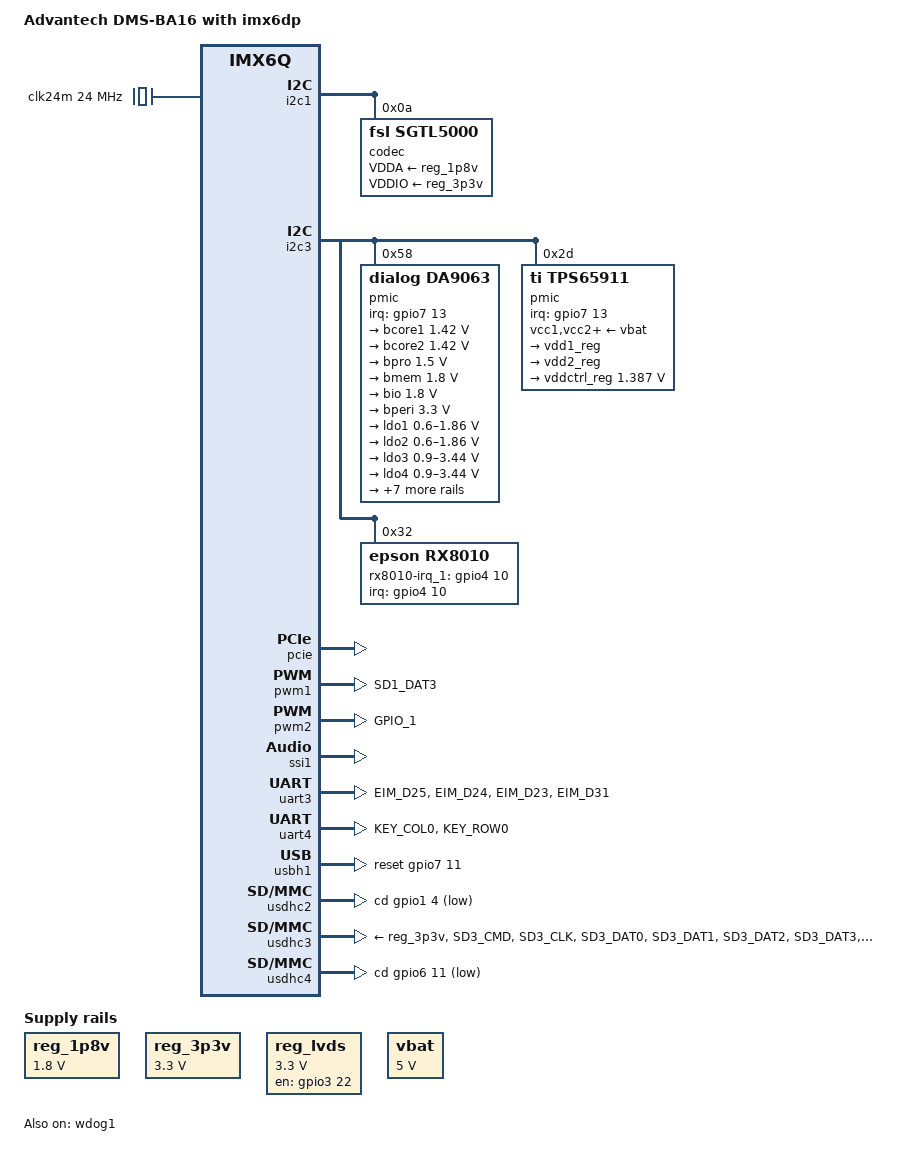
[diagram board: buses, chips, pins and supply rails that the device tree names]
/*
 * Copyright (C) 2015 Freescale Semiconductor, Inc.
 * Copyright (C) 2022 Advantech
 *
 * This program is free software; you can redistribute it and/or modify
 * it under the terms of the GNU General Public License version 2 as
 * published by the Free Software Foundation.
 */

#include "imx6qp-sabresd.dts"

/ {

	model = "Advantech DMS-BA16 with imx6dp";
	compatible = "fsl.imx6q-dms-ba16", "fsl,imx6q";
	
	aliases {
		rtc0 = &snvs_rtc;
		rtc1 = &rx8010;
	};

	clocks {
		clk24m: clk24m {
			compatible = "fixed-clock";
			#clock-cells = <0>;
			clock-frequency = <24000000>;
		};
	};

	regulators {
		reg_usb_otg_vbus: regulator@0 {
			/delete-property/ vin-supply;
			pinctrl-names = "default";
			pinctrl-0 = <&pinctrl_usbotg>;
			gpio = <&gpio4 15 GPIO_ACTIVE_HIGH>;
		};			
	
		reg_usb_h1_vbus: regulator@1 {
			/delete-property/ gpio;
			/delete-property/ enable-active-high;
			/delete-property/ vin-supply;
		};

		/delete-node/ regulator@2;
		/delete-node/ regulator@3;
		/delete-node/ regulator@4;
		/delete-node/ regulator@5;
		/delete-node/ mipi_dsi_pwr_on;

		reg_1p8v: 1p8v {
			compatible = "regulator-fixed";
			regulator-name = "1P8V";
			regulator-min-microvolt = <1800000>;
			regulator-max-microvolt = <1800000>;
			regulator-always-on;
		};

		reg_3p3v: 3p3v {
			compatible = "regulator-fixed";
			regulator-name = "3P3V";
			regulator-min-microvolt = <3300000>;
			regulator-max-microvolt = <3300000>;
			regulator-always-on;
		};

		reg_lvds: regulator-lvds {
			compatible = "regulator-fixed";
			regulator-name = "lvds_ppen";
			regulator-min-microvolt = <3300000>;
			regulator-max-microvolt = <3300000>;
			regulator-boot-on;
			gpio = <&gpio3 22 GPIO_ACTIVE_HIGH>;
			enable-active-high;
		};

		vbat: fixedregulator@0 {
			compatible = "regulator-fixed";
			regulator-name = "vbat";
			regulator-min-microvolt = <5000000>;
			regulator-max-microvolt = <5000000>;
			regulator-boot-on;
		};
	};

	sound {
		compatible = "fsl,imx6q-ba16-sgtl5000",
			"fsl,imx-audio-sgtl5000";
		model = "imx6q-ba16-sgtl5000";


	};

	/delete-node/ lcd@0;
	/delete-node/ hannstar_cabc;
	/delete-node/ gpio-keys;

};

/delete-node/ &battery;
/delete-node/ &mipi_csi;
/delete-node/ &mipi_dsi;

&mxcfb3 {
	status = "disabled";
};

&mxcfb4 {
	status = "disabled";
};

&hdmi_video {
	/delete-property/ HDMI-supply;
};

&i2c1 {
	/delete-node/ wm8962@1a;
	/delete-node/ mma8451@1c;
	/delete-node/ ov564x@3c;

	codec: sgtl5000@0a {
		compatible = "fsl,sgtl5000";
		reg = <0x0a>;
		clocks = <&clks 201>;
		VDDA-supply = <&reg_1p8v>;
		VDDIO-supply = <&reg_3p3v>;
	};

};

&i2c2 {

	/delete-node/ egalax_ts@04;
	/delete-node/ max11801@48;
	/delete-node/ ov564x_mipi@3c;
	/delete-node/ pfuze100@08;

};

&i2c3 {

	/delete-node/ egalax_ts@04;
	/delete-node/ isl29023@44;
	/delete-node/ mag3110@0e;

	pmic@58 {
		compatible = "dialog,da9063";
		reg = <0x58>;
		interrupt-parent = <&gpio7>;
		interrupts = <13 0x8>; /* active-low GPIO7_13 */

		regulators {
			bcore1 {
				regulator-min-microvolt = <1420000>;
				regulator-max-microvolt = <1420000>;
				regulator-always-on;
				regulator-boot-on;
			};

			bcore2 {
				regulator-min-microvolt = <1420000>;
				regulator-max-microvolt = <1420000>;
				regulator-always-on;
				regulator-boot-on;
			};

			bpro {
				regulator-min-microvolt = <1500000>;
				regulator-max-microvolt = <1500000>;
				regulator-always-on;
				regulator-boot-on;
			};

			bmem {
				regulator-min-microvolt = <1800000>;
				regulator-max-microvolt = <1800000>;
				regulator-always-on;
				regulator-boot-on;
			};

			bio: bio {
				regulator-min-microvolt = <1800000>;
				regulator-max-microvolt = <1800000>;
				regulator-always-on;
				regulator-boot-on;
			};

			bperi: bperi {
				regulator-min-microvolt = <3300000>;
				regulator-max-microvolt = <3300000>;
				regulator-always-on;
				regulator-boot-on;
			};

			ldo1 {
				regulator-min-microvolt = <600000>;
				regulator-max-microvolt = <1860000>;
			};

			ldo2 {
				regulator-min-microvolt = <600000>;
				regulator-max-microvolt = <1860000>;
			};

			ldo3 {
				regulator-min-microvolt = <900000>;
				regulator-max-microvolt = <3440000>;
			};

			ldo4 {
				regulator-min-microvolt = <900000>;
				regulator-max-microvolt = <3440000>;
			};

			ldo5 {
				regulator-min-microvolt = <900000>;
				regulator-max-microvolt = <3600000>;
				regulator-always-on;
				regulator-boot-on;
			};

			ldo6 {
				regulator-min-microvolt = <900000>;
				regulator-max-microvolt = <3600000>;
				regulator-always-on;
				regulator-boot-on;
			};

			ldo7 {
				regulator-min-microvolt = <900000>;
				regulator-max-microvolt = <3600000>;
				regulator-always-on;
				regulator-boot-on;
			};

			ldo8 {
				regulator-min-microvolt = <900000>;
				regulator-max-microvolt = <3600000>;
				regulator-always-on;
				regulator-boot-on;
			};

			ldo9 {
				regulator-min-microvolt = <950000>;
				regulator-max-microvolt = <3600000>;
				regulator-always-on;
				regulator-boot-on;
			};

			ldo10 {
				regulator-min-microvolt = <900000>;
				regulator-max-microvolt = <3600000>;
				regulator-always-on;
				regulator-boot-on;
			};

			ldo11 {
				regulator-min-microvolt = <900000>;
				regulator-max-microvolt = <3600000>;
				regulator-always-on;
				regulator-boot-on;
			};
		};
	};

	pmic: tps65911@2d {
                compatible = "ti,tps65911";
                reg = <0x2d>;
                interrupt-parent = <&gpio7>;
                interrupts = <13 0x2>; /* active-low GPIO7_13 */
                #interrupt-cells = <2>;
                interrupt-controller;

                ti,system-power-controller;

                #gpio-cells = <2>;
                gpio-controller;

                vcc1-supply = <&vbat>;
                vcc2-supply = <&vbat>;
                vcc3-supply = <&vbat>;
                vcc4-supply = <&vbat>;
                vcc5-supply = <&vbat>;
                vcc6-supply = <&vbat>;
                vcc7-supply = <&vbat>;
                vccio-supply = <&vbat>;

		regulators {
                        vrtc_reg: regulator@0 {
                                regulator-always-on;
                        };

                        vio_reg: regulator@1 {
                                regulator-always-on;
                        };

                        vdd1_reg: regulator@2 {
                                /* VDD_MPU voltage limits 0.95V - 1.26V with +/-4% tolerance */
                                regulator-name = "vdd_mpu";
                                /* regulator-min-microvolt = <912500>; */
                                /* regulator-max-microvolt = <1312500>; */
                                regulator-boot-on;
                                regulator-always-on;
                        };

                        vdd2_reg: regulator@3 {
                                /* VDD_CORE voltage limits 0.95V - 1.1V with +/-4% tolerance */
                                regulator-name = "vdd_core";
                                /* regulator-min-microvolt = <912500>; */
                                /* regulator-max-microvolt = <1150000>; */
                                regulator-boot-on;
                                regulator-always-on;
                        };

                        vdd3_reg: regulator@4 {
                                regulator-always-on;
                        };

                        vdig1_reg: regulator@5 {
                                regulator-always-on;
                        };

			vdig2_reg: regulator@6 {
                                regulator-always-on;
                        };

                        vpll_reg: regulator@7 {
                                regulator-always-on;
                        };

                        vdac_reg: regulator@8 {
                                regulator-always-on;
                        };

                        vaux1_reg: regulator@9 {
                                regulator-always-on;
                        };

                        vaux2_reg: regulator@10 {
                                regulator-always-on;
                        };

                        vaux33_reg: regulator@11 {
                                regulator-always-on;
                        };

                        vmmc_reg: regulator@12 {
                                /* regulator-min-microvolt = <1800000>; */
                                /* regulator-max-microvolt = <3300000>; */
                                regulator-always-on;
                        };

			vddctrl_reg: regulator@13 {
                                regulator-compatible = "vddctrl";
                                reg = <2>;
                                regulator-min-microvolt = <1387500>;
                                regulator-max-microvolt = <1387500>;
                                regulator-always-on;
                                regulator-boot-on;
                                ti,regulator-ext-sleep-control = <0>;
                        };
                };
        };

	rx8010:rtc@32 {
		compatible = "epson,rx8010";
		reg = <0x32>;
		interrupt-parent = <&gpio4>;
		interrupts = <10>;
		rx8010-irq_1 = <&gpio4 10 0>;
	};

};

&iomuxc {

	hog {
		pinctrl_hog: hoggrp-1 {
			fsl,pins = <
				MX6QDL_PAD_GPIO_4__GPIO1_IO04    0x80000000	/* uSDHC2 CD */
				MX6QDL_PAD_NANDF_CS0__GPIO6_IO11 0x80000000	/* uSDHC4 CD */
				MX6QDL_PAD_NANDF_CS1__GPIO6_IO14 0x80000000	/* uSDHC4 SDIO PWR */
				MX6QDL_PAD_NANDF_CS2__GPIO6_IO15 0x80000000	/* uSDHC4 SDIO WP */
				MX6QDL_PAD_NANDF_CS3__GPIO6_IO16 0x80000000	/* uSDHC4 SDIO LED */
				MX6QDL_PAD_EIM_EB2__GPIO2_IO30   0x80000000	/* SPI1 CS */
				MX6QDL_PAD_ENET_TX_EN__GPIO1_IO28 0x80000000	/* FEC Reset */
				MX6QDL_PAD_NANDF_D0__GPIO2_IO00 0x80000000	/* GPIO0 */
				MX6QDL_PAD_NANDF_D1__GPIO2_IO01 0x80000000	/* GPIO1 */
				MX6QDL_PAD_NANDF_D2__GPIO2_IO02 0x80000000	/* GPIO2 */
				MX6QDL_PAD_NANDF_D3__GPIO2_IO03 0x80000000	/* GPIO3 */
				MX6QDL_PAD_NANDF_D4__GPIO2_IO04 0x80000000	/* GPIO4 */
				MX6QDL_PAD_NANDF_D5__GPIO2_IO05 0x80000000	/* GPIO5 */
				MX6QDL_PAD_NANDF_D6__GPIO2_IO06 0x80000000	/* GPIO6 */
				MX6QDL_PAD_NANDF_D7__GPIO2_IO07 0x80000000	/* GPIO7 */
				MX6QDL_PAD_NANDF_CLE__GPIO6_IO07 0x80000000	/* CAM_PWDN */
				MX6QDL_PAD_GPIO_2__GPIO1_IO02 0x80000000	/* CAM_RST */
				MX6QDL_PAD_GPIO_9__WDOG1_B 0x80000000		/* Watchdog out */
				MX6QDL_PAD_GPIO_16__GPIO7_IO11   0x80000000	/* HUB_RESET */
				MX6QDL_PAD_GPIO_18__GPIO7_IO13   0x80000000	/* PMIC Interrupt */
				MX6QDL_PAD_GPIO_19__GPIO4_IO05   0x80000000	/* AR8033 Interrupt */
				MX6QDL_PAD_GPIO_0__GPIO1_IO00  0x80000000	/* BLEN_OUT */
				MX6QDL_PAD_EIM_D22__GPIO3_IO22   0x80000000	/* LVDS_PPEN_OUT */
				MX6QDL_PAD_KEY_COL2__GPIO4_IO10  0x80000000	/* RTC_INT */
			>;
		};
	};

	usdh3 {
		pinctrl_usdhc3_reset: usdhc3grp-reset {
			fsl,pins = <
				MX6QDL_PAD_SD3_RST__SD3_RESET   0x170F9
			>;
		};
	};

		audmux {
		pinctrl_audmux: audmuxgrp {
			fsl,pins = <
				MX6QDL_PAD_DISP0_DAT20__AUD4_TXC  0x130b0
				MX6QDL_PAD_DISP0_DAT21__AUD4_TXD  0x130b0
				MX6QDL_PAD_DISP0_DAT22__AUD4_TXFS  0x130b0
				MX6QDL_PAD_DISP0_DAT23__AUD4_RXD  0x130b0
			>;
		};
	};

	ecspi1 {
		pinctrl_ecspi1: ecspi1grp {
			fsl,pins = <
				MX6QDL_PAD_EIM_D17__ECSPI1_MISO 0x100b1
				MX6QDL_PAD_EIM_D18__ECSPI1_MOSI 0x100b1
				MX6QDL_PAD_EIM_D16__ECSPI1_SCLK 0x100b1
			>;
		};
	};

	ecspi5 {
		pinctrl_ecspi5: ecspi5grp {
			fsl,pins = <
				MX6QDL_PAD_SD1_DAT0__ECSPI5_MISO	0x1b0b0
				MX6QDL_PAD_SD1_CMD__ECSPI5_MOSI		0x1b0b0
				MX6QDL_PAD_SD1_CLK__ECSPI5_SCLK		0x1b0b0
				MX6QDL_PAD_SD1_DAT1__GPIO1_IO17		0x1b0b0
			>;
		};
	};

	hdmi_cec {
		pinctrl_hdmi_cec: hdmicecgrp {
			fsl,pins = <
				MX6QDL_PAD_KEY_ROW2__HDMI_TX_CEC_LINE 0x1f8b0
			>;
		};
	};

	usbotg {
		pinctrl_usbotg: usbotggrp {
			fsl,pins = <
				MX6QDL_PAD_ENET_RX_ER__USB_OTG_ID 0x17059
				MX6QDL_PAD_KEY_ROW4__GPIO4_IO15   0x1b0b0
			>;
		};
	};

	usdhc2 {
		pinctrl_usdhc2: usdhc2grp {
			fsl,pins = <
				MX6QDL_PAD_SD2_CMD__SD2_CMD    0x17059
				MX6QDL_PAD_SD2_CLK__SD2_CLK    0x10059
				MX6QDL_PAD_SD2_DAT0__SD2_DATA0 0x17059
				MX6QDL_PAD_SD2_DAT1__SD2_DATA1 0x17059
				MX6QDL_PAD_SD2_DAT2__SD2_DATA2 0x17059
				MX6QDL_PAD_SD2_DAT3__SD2_DATA3 0x17059
			>;
		};
	};

	usdhc3 {
		pinctrl_usdhc3: usdhc3grp {
			fsl,pins = <
				MX6QDL_PAD_SD3_CMD__SD3_CMD    0x17059
				MX6QDL_PAD_SD3_CLK__SD3_CLK    0x10059
				MX6QDL_PAD_SD3_DAT0__SD3_DATA0 0x17059
				MX6QDL_PAD_SD3_DAT1__SD3_DATA1 0x17059
				MX6QDL_PAD_SD3_DAT2__SD3_DATA2 0x17059
				MX6QDL_PAD_SD3_DAT3__SD3_DATA3 0x17059
				MX6QDL_PAD_SD3_DAT4__SD3_DATA4 0x17059
				MX6QDL_PAD_SD3_DAT5__SD3_DATA5 0x17059
				MX6QDL_PAD_SD3_DAT6__SD3_DATA6 0x17059
				MX6QDL_PAD_SD3_DAT7__SD3_DATA7 0x17059
			>;
		};
	};

	usdhc4 {
		pinctrl_usdhc4: usdhc4grp {
			fsl,pins = <
				MX6QDL_PAD_SD4_CMD__SD4_CMD    0x17059
				MX6QDL_PAD_SD4_CLK__SD4_CLK    0x10059
				MX6QDL_PAD_SD4_DAT0__SD4_DATA0 0x17059
				MX6QDL_PAD_SD4_DAT1__SD4_DATA1 0x17059
				MX6QDL_PAD_SD4_DAT2__SD4_DATA2 0x17059
				MX6QDL_PAD_SD4_DAT3__SD4_DATA3 0x17059
				MX6QDL_PAD_SD4_DAT4__SD4_DATA4 0x17059
				MX6QDL_PAD_SD4_DAT5__SD4_DATA5 0x17059
				MX6QDL_PAD_SD4_DAT6__SD4_DATA6 0x17059
				MX6QDL_PAD_SD4_DAT7__SD4_DATA7 0x17059
			>;
		};
	};

	i2c1 {
		pinctrl_i2c1: i2c1grp {
			fsl,pins = <
				MX6QDL_PAD_CSI0_DAT8__I2C1_SDA 0x4001b8b1
				MX6QDL_PAD_CSI0_DAT9__I2C1_SCL 0x4001b8b1
			>;
		};
	};

	i2c2 {
		pinctrl_i2c2: i2c2grp {
			fsl,pins = <
				MX6QDL_PAD_KEY_COL3__I2C2_SCL 0x4001b8b1
				MX6QDL_PAD_KEY_ROW3__I2C2_SDA 0x4001b8b1
			>;
		};
	};

	i2c3 {
		pinctrl_i2c3: i2c3grp {
			fsl,pins = <
				MX6QDL_PAD_GPIO_3__I2C3_SCL 0x4001b8b1
				MX6QDL_PAD_GPIO_6__I2C3_SDA 0x4001b8b1
			>;
		};
	};

	pwm1 {
		pinctrl_pwm1: pwm1grp {
			fsl,pins = <
				MX6QDL_PAD_SD1_DAT3__PWM1_OUT 0x1b0b1
			>;
		};
	};

	pwm2 {
		pinctrl_pwm2: pwm2grp {
			fsl,pins = <
				MX6QDL_PAD_GPIO_1__PWM2_OUT 0x1b0b1
			>;
		};
	};

	enet {
		pinctrl_enet: enetgrp {
			fsl,pins = <
				MX6QDL_PAD_ENET_MDIO__ENET_MDIO       0x100b0
				MX6QDL_PAD_ENET_MDC__ENET_MDC         0x100b0
				MX6QDL_PAD_RGMII_TXC__RGMII_TXC       0x100b0
				MX6QDL_PAD_RGMII_TD0__RGMII_TD0       0x100b0
				MX6QDL_PAD_RGMII_TD1__RGMII_TD1       0x100b0
				MX6QDL_PAD_RGMII_TD2__RGMII_TD2       0x100b0
				MX6QDL_PAD_RGMII_TD3__RGMII_TD3       0x100b0
				MX6QDL_PAD_RGMII_TX_CTL__RGMII_TX_CTL 0x100b0
				MX6QDL_PAD_ENET_REF_CLK__ENET_TX_CLK  0x100b0
				MX6QDL_PAD_RGMII_RXC__RGMII_RXC       0x1b0b0
				MX6QDL_PAD_RGMII_RD0__RGMII_RD0       0x1b0b0
				MX6QDL_PAD_RGMII_RD1__RGMII_RD1       0x1b0b0
				MX6QDL_PAD_RGMII_RD2__RGMII_RD2       0x1b0b0
				MX6QDL_PAD_RGMII_RD3__RGMII_RD3       0x1b0b0
				MX6QDL_PAD_RGMII_RX_CTL__RGMII_RX_CTL 0x1b0b0
			>;
		};
	};

	uart3 {
		pinctrl_uart3: uart3grp {
			fsl,pins = <
				MX6QDL_PAD_EIM_D25__UART3_RX_DATA 0x1b0b1
				MX6QDL_PAD_EIM_D24__UART3_TX_DATA 0x1b0b1
				MX6QDL_PAD_EIM_D23__UART3_CTS_B   0x1b0b1
				MX6QDL_PAD_EIM_D31__UART3_RTS_B   0x1b0b1
			>;
		};
	};

	uart4 {
		pinctrl_uart4: uart4grp {
			fsl,pins = <
				MX6QDL_PAD_KEY_COL0__UART4_TX_DATA 0x1b0b1
				MX6QDL_PAD_KEY_ROW0__UART4_RX_DATA 0x1b0b1
			>;
		};
	};

};

&pcie {
	/delete-property/ pinctrl-names;
	/delete-property/ pinctrl-0;
	/delete-property/ disp-power-on-supply;
	fsl,tx-deemph-gen1 = <0>;
	fsl,tx-deemph-gen2-3p5db = <0>;
	fsl,tx-deemph-gen2-6db = <20>;
	fsl,tx-swing-full = <103>;
	fsl,tx-swing-low = <103>;
	status = "okay";
};

&pwm1 {
	pinctrl-names = "default";
	pinctrl-0 = <&pinctrl_pwm1>;
	status = "okay";
};

&pwm2 { 
	pinctrl-names = "default";
	pinctrl-0 = <&pinctrl_pwm2>;
	status = "okay";
};

&ssi1 {
	status = "okay";
};

&uart1 {
	status = "disabled";
};

&uart3 {
	pinctrl-names = "default";
	pinctrl-0 = <&pinctrl_uart3>;
	fsl,uart-has-rtscts;
	status = "okay";
};

&uart4 {
	pinctrl-names = "default";
	pinctrl-0 = <&pinctrl_uart4>;
	status = "okay";
};

&usbh1 {
	reset-gpios = <&gpio7 11 0>;
};

&usbotg {
	/delete-property/ srp-disable;
	/delete-property/ hnp-disable;
	/delete-property/ adp-disable;
};

&usdhc2 {
	/delete-property/ wp-gpios;
	cd-gpios = <&gpio1 4 1>;
};

&usdhc3 {
	pinctrl-0 = <&pinctrl_usdhc3 &pinctrl_usdhc3_reset>;
	vmmc-supply = <&reg_3p3v>;
};

&usdhc4 {
	/delete-property/ enable-sdio-wakeup;
	cd-gpios = <&gpio6 11 1>;
};

&vpu {
	pu-supply = <&reg_pu>;
};

&sata {
	fsl,no-spread-spectrum;
	fsl,transmit-atten-16nths = <12>;
	fsl,transmit-boost-mdB = <3330>;
	fsl,transmit-level-mV = <1133>;
	fsl,receive-dpll-mode = <1>;
};

&cpu0 {
	arm-supply = <&reg_arm>;
	soc-supply = <&reg_soc>;
	pu-supply = <&reg_pu>;
};

&gpc {
	fsl,cpu_pupscr_sw2iso = <0xf>;
	fsl,cpu_pupscr_sw = <0xf>;
	fsl,cpu_pdnscr_iso2sw = <0x1>;
	fsl,cpu_pdnscr_iso = <0x1>;
	/* use ldo-enable, u-boot will check it and configure */
	fsl,ldo-bypass = <0>;
	/* watchdog select of reset source */
	fsl,wdog-reset = <1>;
	pu-supply = <&reg_pu>;
};

&wdog1 {
	status = "okay";
};

&wdog2 {
	status = "disabled";
};
